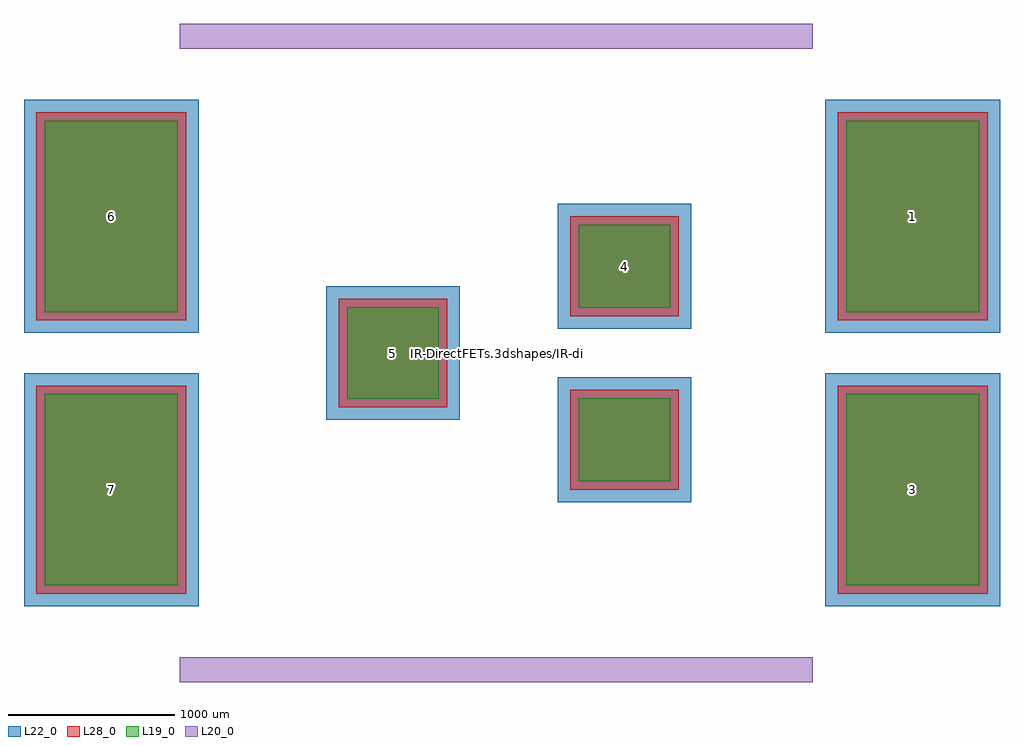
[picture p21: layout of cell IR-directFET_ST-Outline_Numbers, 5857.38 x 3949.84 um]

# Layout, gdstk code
import gdstk
lib = gdstk.Library(unit=1e-6, precision=1e-09)
def R(c, l, rs):  # rectangles x0, y0, x1, y1
    for r in rs: c.add(gdstk.rectangle(r[:2], r[2:], *l))
L19_0 = (19, 0)
L20_0 = (20, 0)
L22_0 = (22, 0)
L28_0 = (28, 0)

ir_directfet_st_outline_ = lib.new_cell('IR-directFET_ST-Outline_Numbers')
R(ir_directfet_st_outline_, L19_0, [(-2708.44,-1395.26,-1909.28,-245.58), (2099.78,-1395.26,2898.94,-245.58), (494.5,-770.42,1044.74,-270.98), (-894.88,-275.12,-344.64,275.12), (-2708.44,245.58,-1909.28,1395.26), (2099.78,245.58,2898.94,1395.26), (494.5,270.98,1044.74,770.42)])
R(ir_directfet_st_outline_, L22_0, [(-2833.44,-1520.26,-1784.28,-120.58), (1974.78,-1520.26,3023.94,-120.58), (369.5,-895.42,1169.74,-145.98), (-1019.88,-400.12,-219.64,400.12), (-2833.44,120.58,-1784.28,1520.26), (1974.78,120.58,3023.94,1520.26), (369.5,145.98,1169.74,895.42)])
R(ir_directfet_st_outline_, L28_0, [(-2758.44,-1445.26,-1859.28,-195.58), (2049.78,-1445.26,2948.94,-195.58), (444.5,-820.42,1094.74,-220.98), (-944.88,-325.12,-294.64,325.12), (-2758.44,195.58,-1859.28,1445.26), (2049.78,195.58,2948.94,1445.26), (444.5,220.98,1094.74,820.42)])
ir_directfet_st_outline_.add(gdstk.FlexPath([(-1899.92,1899.92),(1899.92,1899.92)], 149.998, ends="flush", simple_path=True, layer=20, datatype=0))  # L20_0
ir_directfet_st_outline_.add(gdstk.FlexPath([(-1899.92,-1899.92),(1899.92,-1899.92)], 149.998, ends="flush", simple_path=True, layer=20, datatype=0))  # L20_0
ir_directfet_st_outline_.add(gdstk.Label('IR-DirectFETs.3dshapes/IR-directFET_ST-Outline_Numbers.wrl', (0,0), layer=12, texttype=0))
ir_directfet_st_outline_.add(gdstk.Label('3', (2499.36,-820.42), layer=28, texttype=0))
ir_directfet_st_outline_.add(gdstk.Label('1', (2499.36,820.42), layer=28, texttype=0))
ir_directfet_st_outline_.add(gdstk.Label('7', (-2308.86,-820.42), layer=28, texttype=0))
ir_directfet_st_outline_.add(gdstk.Label('6', (-2308.86,820.42), layer=28, texttype=0))
ir_directfet_st_outline_.add(gdstk.Label('4', (769.62,520.7), layer=28, texttype=0))
ir_directfet_st_outline_.add(gdstk.Label('5', (-619.76,0), layer=28, texttype=0))
ir_directfet_st_outline_.add(gdstk.Label('type', (-10.16,-4000.5), layer=9, texttype=0))
ir_directfet_st_outline_.add(gdstk.Label('devicename', (-10.16,4620.26), layer=9, texttype=0))

lib.write_gds('IR-directFET_ST-Outline_Numbers.gds')
